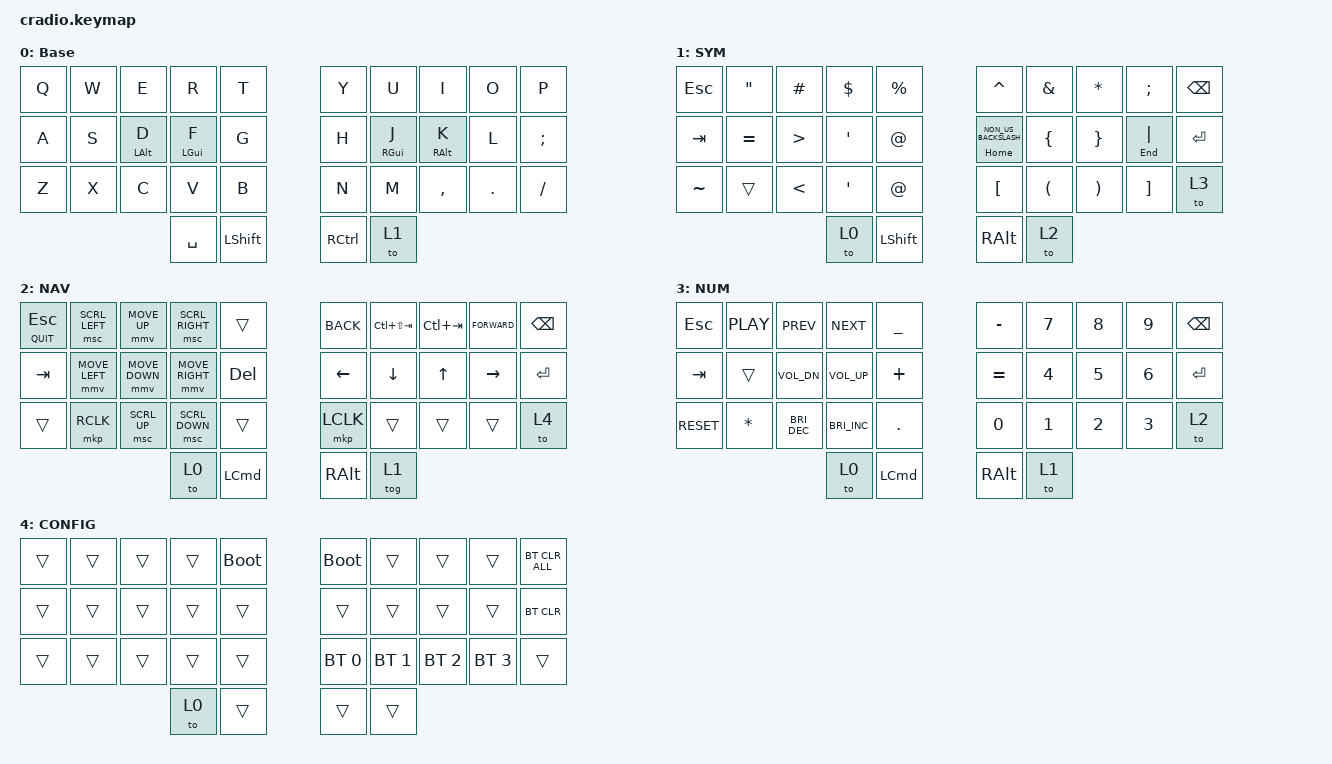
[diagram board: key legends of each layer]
#include <behaviors.dtsi>
#include <dt-bindings/zmk/bt.h>
#include <dt-bindings/zmk/keys.h>
#include <dt-bindings/zmk/pointing.h>

&mt {
    flavor = "tap-preferred";
    tapping_term_ms = <200>;
};

/ {
    combos { compatible = "zmk,combos"; };

    conditional_layers {
        compatible = "zmk,conditional-layers";

        cond_layer_mgmt {
            if-layers = <1 4>;
            then-layer = <5>;
        };
    };

    keymap {
        compatible = "zmk,keymap";

        Base {
            bindings = <
&kp Q  &kp W  &kp E           &kp R       &kp T         &kp Y      &kp U       &kp I            &kp O       &kp P
&kp A  &kp S  &mt LEFT_ALT D  &mt LGUI F  &kp G         &kp H      &mt RGUI J  &mt RIGHT_ALT K  &kp L       &kp SEMICOLON
&kp Z  &kp X  &kp C           &kp V       &kp B         &kp N      &kp M       &kp COMMA        &kp PERIOD  &kp SLASH
                              &kp SPACE   &kp LSHIFT    &kp RCTRL  &to 1
            >;
        };

        SYM {
            bindings = <
&kp ESCAPE  &kp DOUBLE_QUOTES  &kp HASH          &kp DOLLAR        &kp PERCENT    &kp CARET                  &kp AMPERSAND         &kp ASTERISK           &kp SEMICOLON      &kp BACKSPACE
&kp TAB     &kp EQUAL          &kp GREATER_THAN  &kp SQT           &kp AT_SIGN    &mt HOME NON_US_BACKSLASH  &kp LEFT_BRACE        &kp RIGHT_BRACE        &mt END PIPE       &kp ENTER
&kp TILDE   &trans             &kp LESS_THAN     &kp SINGLE_QUOTE  &kp AT_SIGN    &kp LEFT_BRACKET           &kp LEFT_PARENTHESIS  &kp RIGHT_PARENTHESIS  &kp RIGHT_BRACKET  &to 3
                                                 &to 0             &kp LSHIFT     &kp RIGHT_ALT              &to 2
            >;
        };

        NAV {
            bindings = <
&mt C_QUIT ESC  &msc SCRL_LEFT  &mmv MOVE_UP    &msc SCRL_RIGHT  &trans        &kp K_BACK     &kp LC(LS(TAB))  &kp LC(TAB)  &kp K_FORWARD  &kp BACKSPACE
&kp TAB         &mmv MOVE_LEFT  &mmv MOVE_DOWN  &mmv MOVE_RIGHT  &kp DELETE    &kp LEFT       &kp DOWN         &kp UP       &kp RIGHT      &kp ENTER
&trans          &mkp RCLK       &msc SCRL_UP    &msc SCRL_DOWN   &trans        &mkp LCLK      &trans           &trans       &trans         &to 4
                                                &to 0            &kp LCMD      &kp RIGHT_ALT  &tog 1
            >;
        };

        NUM {
            bindings = <
&kp ESCAPE   &kp C_PLAY    &kp C_PREV            &kp C_NEXT            &kp UNDERSCORE    &kp MINUS      &kp N7        &kp N8        &kp N9        &kp BACKSPACE
&kp TAB      &trans        &kp C_VOL_DN          &kp C_VOL_UP          &kp PLUS          &kp EQUAL      &kp NUMBER_4  &kp N5        &kp NUMBER_6  &kp ENTER
&kp C_RESET  &kp ASTERISK  &kp C_BRIGHTNESS_DEC  &kp C_BRIGHTNESS_INC  &kp PERIOD        &kp N0         &kp NUMBER_1  &kp NUMBER_2  &kp NUMBER_3  &to 2
                                                 &to 0                 &kp LCMD          &kp RIGHT_ALT  &to 1
            >;
        };

        CONFIG {
            bindings = <
&trans  &trans  &trans  &trans  &bootloader    &bootloader   &trans        &trans        &trans        &bt BT_CLR_ALL
&trans  &trans  &trans  &trans  &trans         &trans        &trans        &trans        &trans        &bt BT_CLR
&trans  &trans  &trans  &trans  &trans         &bt BT_SEL 0  &bt BT_SEL 1  &bt BT_SEL 2  &bt BT_SEL 3  &trans
                        &to 0   &trans         &trans        &trans
            >;
        };
    };
};
